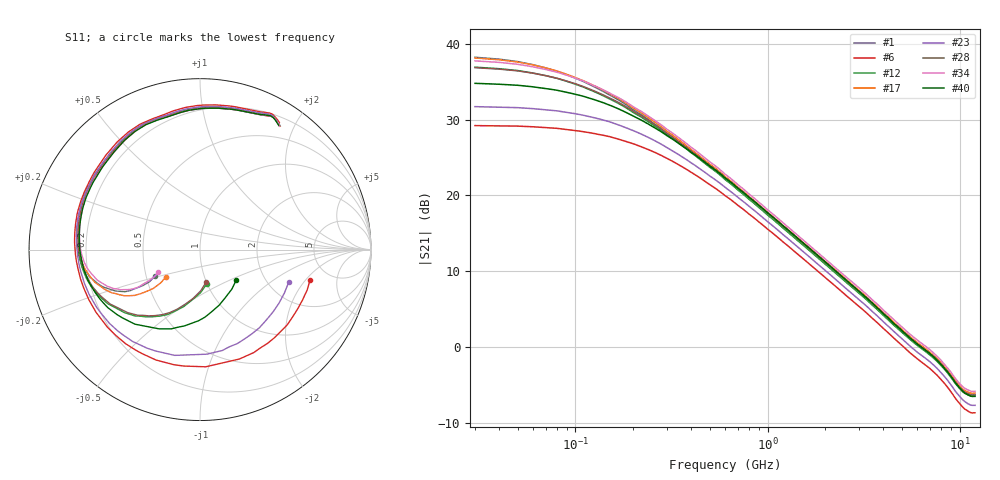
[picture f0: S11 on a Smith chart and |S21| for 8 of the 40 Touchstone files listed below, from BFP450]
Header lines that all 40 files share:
! Infineon Technologies  Discrete & RF Semiconductors
! BFP450
! Common Emitter S-Parameters:  Nov 2015
# GHz  S  MA  R  50
!  f  S11  S21  S12  S22
! GHz  MAG  ANG  MAG  ANG  MAG  ANG  MAG  ANG
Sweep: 30 MHz to 12 GHz
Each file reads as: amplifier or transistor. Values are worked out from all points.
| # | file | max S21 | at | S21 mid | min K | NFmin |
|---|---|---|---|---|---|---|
| 1 | BFP450_w_noise_VCE_2.5V_IC_0.12A.s2p | 38.2 dB | 30 MHz | 11.5 dB at 1.88 GHz | 0.40 | 2.31 dB |
| 2 | BFP450_w_noise_VCE_2.5V_IC_0.14A.s2p | 38.2 dB | 30 MHz | 11.4 dB at 1.88 GHz | 0.44 | 2.52 dB |
| 3 | BFP450_w_noise_VCE_2.5V_IC_0.16A.s2p | 38.0 dB | 30 MHz | 11.2 dB at 1.88 GHz | 0.48 | 2.68 dB |
| 4 | BFP450_w_noise_VCE_2.5V_IC_0.18A.s2p | 37.8 dB | 30 MHz | 11.0 dB at 1.88 GHz | 0.52 | 2.85 dB |
| 5 | BFP450_w_noise_VCE_2.5V_IC_5.0mA.s2p | 24.3 dB | 50 MHz | 7.9 dB at 1.88 GHz | 0.03 | 1.02 dB |
| 6 | BFP450_w_noise_VCE_2.5V_IC_10mA.s2p | 29.2 dB | 30 MHz | 9.7 dB at 1.88 GHz | 0.06 | 0.98 dB |
| 7 | BFP450_w_noise_VCE_2.5V_IC_15mA.s2p | 31.7 dB | 30 MHz | 10.4 dB at 1.88 GHz | 0.09 | 1.04 dB |
| 8 | BFP450_w_noise_VCE_2.5V_IC_20mA.s2p | 33.3 dB | 30 MHz | 10.8 dB at 1.88 GHz | 0.11 | 1.10 dB |
| 9 | BFP450_w_noise_VCE_2.5V_IC_25mA.s2p | 34.4 dB | 30 MHz | 11.0 dB at 1.88 GHz | 0.14 | 1.19 dB |
| 10 | BFP450_w_noise_VCE_2.5V_IC_30mA.s2p | 35.2 dB | 30 MHz | 11.2 dB at 1.88 GHz | 0.16 | 1.27 dB |
| 11 | BFP450_w_noise_VCE_2.5V_IC_40mA.s2p | 36.2 dB | 30 MHz | 11.4 dB at 1.88 GHz | 0.19 | 1.41 dB |
| 12 | BFP450_w_noise_VCE_2.5V_IC_50mA.s2p | 36.9 dB | 30 MHz | 11.5 dB at 1.88 GHz | 0.23 | 1.55 dB |
| 13 | BFP450_w_noise_VCE_2.5V_IC_60mA.s2p | 37.4 dB | 30 MHz | 11.5 dB at 1.88 GHz | 0.26 | 1.69 dB |
| 14 | BFP450_w_noise_VCE_2.5V_IC_70mA.s2p | 37.7 dB | 30 MHz | 11.6 dB at 1.88 GHz | 0.29 | 1.81 dB |
| 15 | BFP450_w_noise_VCE_2.5V_IC_80mA.s2p | 37.9 dB | 30 MHz | 11.6 dB at 1.88 GHz | 0.31 | 1.90 dB |
| 16 | BFP450_w_noise_VCE_2.5V_IC_90mA.s2p | 38.0 dB | 30 MHz | 11.6 dB at 1.88 GHz | 0.34 | 2.02 dB |
| 17 | BFP450_w_noise_VCE_3.0V_IC_0.10A.s2p | 38.1 dB | 30 MHz | 11.8 dB at 1.88 GHz | 0.37 | 2.12 dB |
| 18 | BFP450_w_noise_VCE_3.0V_IC_0.11A.s2p | 38.2 dB | 30 MHz | 11.8 dB at 1.88 GHz | 0.39 | 2.22 dB |
| 19 | BFP450_w_noise_VCE_3.0V_IC_0.12A.s2p | 38.2 dB | 30 MHz | 11.8 dB at 1.88 GHz | 0.40 | 2.31 dB |
| 20 | BFP450_w_noise_VCE_3.0V_IC_0.14A.s2p | 38.2 dB | 30 MHz | 11.7 dB at 1.88 GHz | 0.43 | 2.52 dB |
| 21 | BFP450_w_noise_VCE_3.0V_IC_5.0mA.s2p | 24.3 dB | 50 MHz | 8.1 dB at 1.88 GHz | 0.03 | 1.02 dB |
| 22 | BFP450_w_noise_VCE_3.0V_IC_10mA.s2p | 29.2 dB | 30 MHz | 9.9 dB at 1.88 GHz | 0.07 | 0.98 dB |
| 23 | BFP450_w_noise_VCE_3.0V_IC_15mA.s2p | 31.7 dB | 30 MHz | 10.6 dB at 1.88 GHz | 0.11 | 1.04 dB |
| 24 | BFP450_w_noise_VCE_3.0V_IC_20mA.s2p | 33.3 dB | 30 MHz | 11.0 dB at 1.88 GHz | 0.14 | 1.10 dB |
| 25 | BFP450_w_noise_VCE_3.0V_IC_25mA.s2p | 34.3 dB | 30 MHz | 11.2 dB at 1.88 GHz | 0.16 | 1.19 dB |
| 26 | BFP450_w_noise_VCE_3.0V_IC_30mA.s2p | 35.1 dB | 30 MHz | 11.4 dB at 1.88 GHz | 0.19 | 1.27 dB |
| 27 | BFP450_w_noise_VCE_3.0V_IC_40mA.s2p | 36.2 dB | 30 MHz | 11.6 dB at 1.88 GHz | 0.23 | 1.41 dB |
| 28 | BFP450_w_noise_VCE_3.0V_IC_50mA.s2p | 36.8 dB | 30 MHz | 11.7 dB at 1.88 GHz | 0.26 | 1.55 dB |
| 29 | BFP450_w_noise_VCE_3.0V_IC_60mA.s2p | 37.3 dB | 30 MHz | 11.8 dB at 1.88 GHz | 0.29 | 1.69 dB |
| 30 | BFP450_w_noise_VCE_3.0V_IC_70mA.s2p | 37.6 dB | 30 MHz | 11.8 dB at 1.88 GHz | 0.31 | 1.81 dB |
| 31 | BFP450_w_noise_VCE_3.0V_IC_80mA.s2p | 37.9 dB | 30 MHz | 11.8 dB at 1.88 GHz | 0.34 | 1.90 dB |
| 32 | BFP450_w_noise_VCE_3.0V_IC_90mA.s2p | 38.0 dB | 30 MHz | 11.8 dB at 1.88 GHz | 0.35 | 2.02 dB |
| 33 | BFP450_w_noise_VCE_4.0V_IC_0.10A.s2p | 37.6 dB | 30 MHz | 12.2 dB at 1.88 GHz | 0.48 | 2.12 dB |
| 34 | BFP450_w_noise_VCE_4.0V_IC_0.11A.s2p | 37.7 dB | 30 MHz | 12.2 dB at 1.88 GHz | 0.49 | 2.22 dB |
| 35 | BFP450_w_noise_VCE_4.0V_IC_5.0mA.s2p | 24.4 dB | 50 MHz | 8.5 dB at 1.88 GHz | 0.07 | 1.02 dB |
| 36 | BFP450_w_noise_VCE_4.0V_IC_10mA.s2p | 29.2 dB | 30 MHz | 10.3 dB at 1.88 GHz | 0.14 | 0.98 dB |
| 37 | BFP450_w_noise_VCE_4.0V_IC_15mA.s2p | 31.6 dB | 30 MHz | 11.0 dB at 1.88 GHz | 0.19 | 1.04 dB |
| 38 | BFP450_w_noise_VCE_4.0V_IC_20mA.s2p | 33.1 dB | 30 MHz | 11.4 dB at 1.88 GHz | 0.24 | 1.10 dB |
| 39 | BFP450_w_noise_VCE_4.0V_IC_25mA.s2p | 34.1 dB | 30 MHz | 11.6 dB at 1.88 GHz | 0.28 | 1.19 dB |
| 40 | BFP450_w_noise_VCE_4.0V_IC_30mA.s2p | 34.8 dB | 30 MHz | 11.8 dB at 1.88 GHz | 0.32 | 1.27 dB |

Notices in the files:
BFP450/BFP450_w_noise_VCE_2.5V_IC_0.12A.s2p:
(c) 2015  Infineon Technologies AG, Munich
